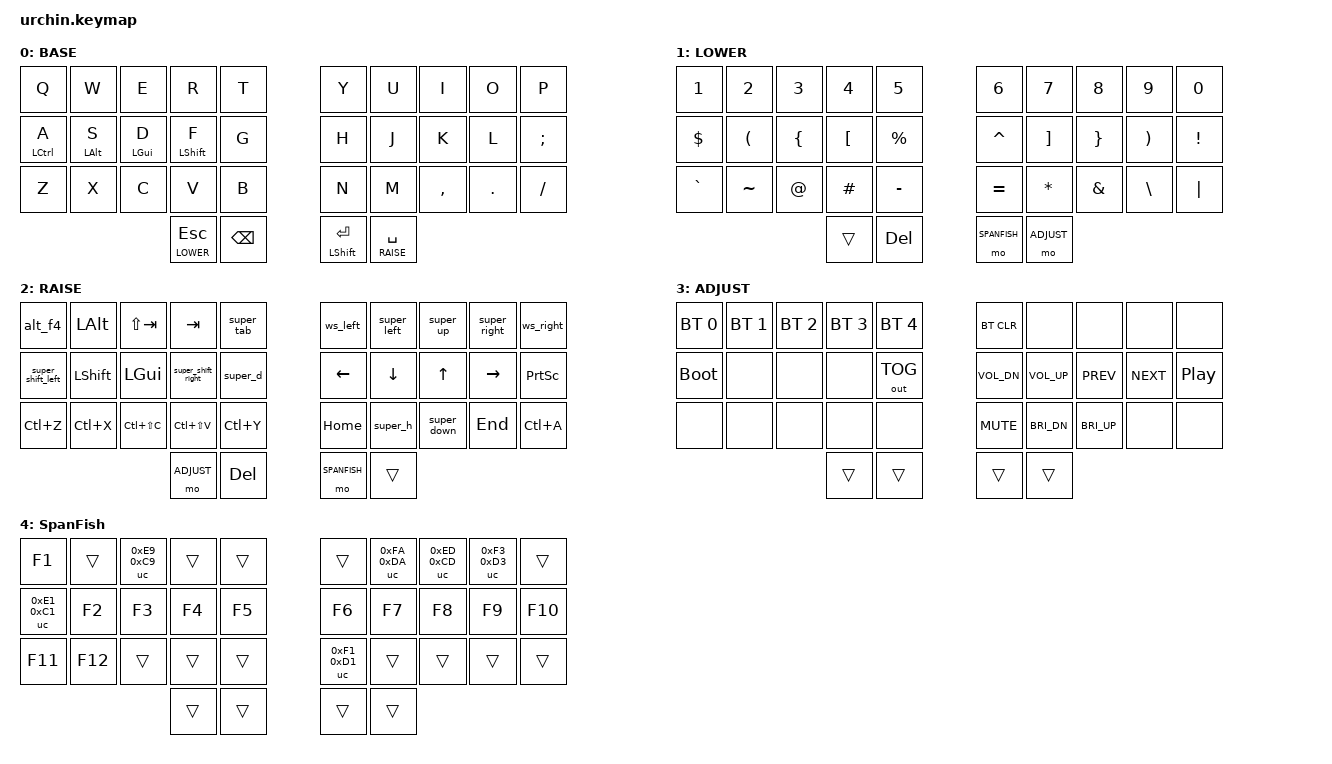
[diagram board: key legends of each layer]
/*
 * Copyright (c) 2024 The ZMK Contributors
 * SPDX-License-Identifier: MIT
 */

#include <behaviors.dtsi>
#include <dt-bindings/zmk/keys.h>
#include <dt-bindings/zmk/bt.h>
#include <dt-bindings/zmk/outputs.h>
#include <behaviors/unicode.dtsi>

// Definición de capas
#define BASE 0
#define LOWER 1
#define RAISE 2
#define ADJUST 3
#define SPANFISH 4

// Home row mods configuración
&mt {
    flavor = "balanced";
    tapping-term-ms = <200>;
    quick-tap-ms = <175>;
    require-prior-idle-ms = <150>;
};

&lt {
    flavor = "balanced";
    tapping-term-ms = <200>;
    quick-tap-ms = <175>;
};

// Configuración de Unicode para Linux (IBus)
&uc {
    default-mode = <UC_MODE_LINUX>;
};

/ {
    macros {
        // Alt+Tab - Cambiar a siguiente ventana (Ubuntu/GNOME)
        alt_tab: alt_tab {
            compatible = "zmk,behavior-macro";
            label = "ALT_TAB";
            #binding-cells = <0>;
            bindings = <&macro_press &kp LALT>
                     , <&macro_tap &kp TAB>
                     , <&macro_release &kp LALT>;
        };

        // Alt+Shift+Tab - Cambiar a ventana anterior (Ubuntu/GNOME)
        alt_shift_tab: alt_shift_tab {
            compatible = "zmk,behavior-macro";
            label = "ALT_SHIFT_TAB";
            #binding-cells = <0>;
            bindings = <&macro_press &kp LALT>
                     , <&macro_press &kp LSHFT>
                     , <&macro_tap &kp TAB>
                     , <&macro_release &kp LSHFT>
                     , <&macro_release &kp LALT>;
        };

        // Alt+F4 - Cerrar ventana actual (Ubuntu/GNOME)
        alt_f4: alt_f4 {
            compatible = "zmk,behavior-macro";
            label = "ALT_F4";
            #binding-cells = <0>;
            bindings = <&macro_press &kp LALT>
                     , <&macro_tap &kp F4>
                     , <&macro_release &kp LALT>;
        };

        // Super+D - Mostrar escritorio (Ubuntu/GNOME)
        super_d: super_d {
            compatible = "zmk,behavior-macro";
            label = "SUPER_D";
            #binding-cells = <0>;
            bindings = <&macro_press &kp LGUI>
                     , <&macro_tap &kp D>
                     , <&macro_release &kp LGUI>;
        };

        // Super+Tab - Cambiar entre aplicaciones (Ubuntu/GNOME)
        super_tab: super_tab {
            compatible = "zmk,behavior-macro";
            label = "SUPER_TAB";
            #binding-cells = <0>;
            bindings = <&macro_press &kp LGUI>
                     , <&macro_tap &kp TAB>
                     , <&macro_release &kp LGUI>;
        };

        // Super+Left - Tile window to left half
        super_left: super_left {
            compatible = "zmk,behavior-macro";
            label = "SUPER_LEFT";
            #binding-cells = <0>;
            bindings = <&macro_press &kp LGUI>
                     , <&macro_tap &kp LEFT>
                     , <&macro_release &kp LGUI>;
        };

        // Super+Right - Tile window to right half
        super_right: super_right {
            compatible = "zmk,behavior-macro";
            label = "SUPER_RIGHT";
            #binding-cells = <0>;
            bindings = <&macro_press &kp LGUI>
                     , <&macro_tap &kp RIGHT>
                     , <&macro_release &kp LGUI>;
        };

        // Super+Up - Maximize window
        super_up: super_up {
            compatible = "zmk,behavior-macro";
            label = "SUPER_UP";
            #binding-cells = <0>;
            bindings = <&macro_press &kp LGUI>
                     , <&macro_tap &kp UP>
                     , <&macro_release &kp LGUI>;
        };

        // Super+Down - Restore/unmaximize window
        super_down: super_down {
            compatible = "zmk,behavior-macro";
            label = "SUPER_DOWN";
            #binding-cells = <0>;
            bindings = <&macro_press &kp LGUI>
                     , <&macro_tap &kp DOWN>
                     , <&macro_release &kp LGUI>;
        };

        // Super+H - Minimize window
        super_h: super_h {
            compatible = "zmk,behavior-macro";
            label = "SUPER_H";
            #binding-cells = <0>;
            bindings = <&macro_press &kp LGUI>
                     , <&macro_tap &kp H>
                     , <&macro_release &kp LGUI>;
        };

        // Ctrl+Alt+Left - Switch to workspace on left
        ws_left: ws_left {
            compatible = "zmk,behavior-macro";
            label = "WS_LEFT";
            #binding-cells = <0>;
            bindings = <&macro_press &kp LCTRL>
                     , <&macro_press &kp LALT>
                     , <&macro_tap &kp LEFT>
                     , <&macro_release &kp LALT>
                     , <&macro_release &kp LCTRL>;
        };

        // Ctrl+Alt+Right - Switch to workspace on right
        ws_right: ws_right {
            compatible = "zmk,behavior-macro";
            label = "WS_RIGHT";
            #binding-cells = <0>;
            bindings = <&macro_press &kp LCTRL>
                     , <&macro_press &kp LALT>
                     , <&macro_tap &kp RIGHT>
                     , <&macro_release &kp LALT>
                     , <&macro_release &kp LCTRL>;
        };

        // Super+Shift+Left - Move window to left monitor
        super_shift_left: super_shift_left {
            compatible = "zmk,behavior-macro";
            label = "SUPER_SHIFT_LEFT";
            #binding-cells = <0>;
            bindings = <&macro_press &kp LGUI>
                     , <&macro_press &kp LSHFT>
                     , <&macro_tap &kp LEFT>
                     , <&macro_release &kp LSHFT>
                     , <&macro_release &kp LGUI>;
        };

        // Super+Shift+Right - Move window to right monitor
        super_shift_right: super_shift_right {
            compatible = "zmk,behavior-macro";
            label = "SUPER_SHIFT_RIGHT";
            #binding-cells = <0>;
            bindings = <&macro_press &kp LGUI>
                     , <&macro_press &kp LSHFT>
                     , <&macro_tap &kp RIGHT>
                     , <&macro_release &kp LSHFT>
                     , <&macro_release &kp LGUI>;
        };

    };

    behaviors {
        // Home row mods para mejor typing
        hml: homerow_mods_left {
            compatible = "zmk,behavior-hold-tap";
            label = "HOMEROW_MODS_LEFT";
            #binding-cells = <2>;
            flavor = "balanced";
            tapping-term-ms = <250>;
            quick-tap-ms = <175>;
            require-prior-idle-ms = <150>;
            bindings = <&kp>, <&kp>;
            hold-trigger-key-positions = <5 6 7 8 9 15 16 17 18 19 25 26 27 28 29 30 31 32 33>;
            hold-trigger-on-release;
        };

        hmr: homerow_mods_right {
            compatible = "zmk,behavior-hold-tap";
            label = "HOMEROW_MODS_RIGHT";
            #binding-cells = <2>;
            flavor = "balanced";
            tapping-term-ms = <250>;
            quick-tap-ms = <175>;
            require-prior-idle-ms = <150>;
            bindings = <&kp>, <&kp>;
            hold-trigger-key-positions = <0 1 2 3 4 10 11 12 13 14 20 21 22 23 24 30 31 32 33>;
            hold-trigger-on-release;
        };
    };

    combos {
        compatible = "zmk,combos";

        // ═══════════════════════════════════════════════════════════
        // UTILIDADES (acceso rápido)
        // ═══════════════════════════════════════════════════════════

        // ESC - Salir de modos (vim, etc)
        combo_esc {
            timeout-ms = <50>;
            key-positions = <16 17>;  // J+K
            bindings = <&kp ESC>;
            layers = <BASE>;
        };

        // TAB - Indentación y navegación
        combo_tab {
            timeout-ms = <50>;
            key-positions = <1 2>;  // W+E
            bindings = <&kp TAB>;
            layers = <BASE>;
        };

        // CAPS WORD - Mayúsculas temporales
        combo_capsword {
            timeout-ms = <50>;
            key-positions = <13 16>;  // F+J (ambos shifts)
            bindings = <&caps_word>;
            layers = <BASE>;
        };

        // ═══════════════════════════════════════════════════════════
        // COMILLAS (mano izquierda, posiciones análogas)
        // ═══════════════════════════════════════════════════════════

        // ' - Comilla simple (strings, atributos)
        combo_single_quote {
            timeout-ms = <50>;
            key-positions = <10 11>;  // A+S
            bindings = <&kp SQT>;
            layers = <BASE LOWER RAISE>;
        };

        // " - Comilla doble (strings)
        combo_double_quote {
            timeout-ms = <50>;
            key-positions = <20 21>;  // Z+X
            bindings = <&kp DQT>;
            layers = <BASE LOWER RAISE>;
        };

        // ═══════════════════════════════════════════════════════════
        // ÁNGULOS (mano derecha, posiciones análogas)
        // ═══════════════════════════════════════════════════════════

        // < - HTML tags, comparaciones
        combo_less_than {
            timeout-ms = <50>;
            key-positions = <17 18>;  // K+L
            bindings = <&kp LT>;
            layers = <BASE LOWER RAISE>;
        };

        // & - Referencias, AND lógico
        combo_ampersand {
            timeout-ms = <50>;
            key-positions = <26 27>;  // M+,
            bindings = <&kp AMPS>;
            layers = <BASE LOWER RAISE>;
        };

        // > - HTML tags, comparaciones
        combo_greater_than {
            timeout-ms = <50>;
            key-positions = <27 28>;  // ,+.
            bindings = <&kp GT>;
            layers = <BASE LOWER RAISE>;
        };

        // ═══════════════════════════════════════════════════════════
        // GUIONES (mano izquierda centro, posiciones análogas)
        // ═══════════════════════════════════════════════════════════

        // - (minus) - kebab-case, operador
        combo_minus {
            timeout-ms = <50>;
            key-positions = <11 12>;  // S+D
            bindings = <&kp MINUS>;
            layers = <BASE LOWER RAISE>;
        };

        // _ (underscore) - snake_case
        combo_underscore {
            timeout-ms = <50>;
            key-positions = <21 22>;  // X+C
            bindings = <&kp UNDER>;
            layers = <BASE LOWER RAISE>;
        };

        // ═══════════════════════════════════════════════════════════
        // EDICIÓN (atajos de teclado comunes)
        // ═══════════════════════════════════════════════════════════

        // ! - Exclamación, negación
        combo_exclaim_right {
            timeout-ms = <50>;
            key-positions = <18 19>;  // L+;
            bindings = <&kp EXCL>;
            layers = <BASE LOWER RAISE>;
        };

        // ═══════════════════════════════════════════════════════════
        // SÍMBOLOS DE PROGRAMACIÓN
        // ═══════════════════════════════════════════════════════════

        // = - Asignaciones, comparaciones
        combo_equal {
            timeout-ms = <50>;
            key-positions = <12 13>;  // D+F
            bindings = <&kp EQUAL>;
            layers = <BASE LOWER RAISE>;
        };

        // + - Operador matemático, concatenación
        combo_plus {
            timeout-ms = <50>;
            key-positions = <13 14>;  // F+G
            bindings = <&kp PLUS>;
            layers = <BASE LOWER RAISE>;
        };

        // : - JSON, CSS, objetos
        combo_colon {
            timeout-ms = <50>;
            key-positions = <2 3>;  // E+R
            bindings = <&kp COLON>;
            layers = <BASE LOWER RAISE>;
        };

        // ~ - Regex, paths, aproximaciones
        combo_tilde {
            timeout-ms = <50>;
            key-positions = <0 1>;  // Q+W
            bindings = <&kp TILDE>;
            layers = <BASE LOWER RAISE>;
        };

        // ` - Template literals (JS), markdown
        combo_backtick {
            timeout-ms = <50>;
            key-positions = <3 4>;  // R+T
            bindings = <&kp GRAVE>;
            layers = <BASE>;
        };

        // ═══════════════════════════════════════════════════════════
        // SÍMBOLOS ADICIONALES (mano derecha + C+V)
        // ═══════════════════════════════════════════════════════════

        // % - Porcentaje, módulo
        combo_percent {
            timeout-ms = <50>;
            key-positions = <5 6>;  // Y+U
            bindings = <&kp PRCNT>;
            layers = <BASE LOWER RAISE>;
        };

        // @ - Email, decoradores
        combo_at {
            timeout-ms = <50>;
            key-positions = <22 23>;  // C+V
            bindings = <&kp AT>;
            layers = <BASE LOWER RAISE>;
        };

        // \ - Backslash (fila inferior derecha)
        combo_backslash_bottom {
            timeout-ms = <50>;
            key-positions = <28 29>;  // .+/
            bindings = <&kp BSLH>;
            layers = <BASE LOWER RAISE>;
        };

        // # - Hash, comentarios, IDs
        combo_hash {
            timeout-ms = <50>;
            key-positions = <23 24>;  // V+B
            bindings = <&kp HASH>;
            layers = <BASE LOWER RAISE>;
        };

        // * - Multiplicación, spread operator, punteros
        combo_asterisk {
            timeout-ms = <50>;
            key-positions = <25 26>;  // N+M
            bindings = <&kp STAR>;
            layers = <BASE LOWER RAISE>;
        };

        // ? - Optional chaining, nullish coalescing, ternario
        combo_question {
            timeout-ms = <50>;
            key-positions = <6 7>;  // U+I
            bindings = <&kp QMARK>;
            layers = <BASE LOWER RAISE>;
        };

        // ^ - Caret, exponenciación, regex
        combo_caret {
            timeout-ms = <50>;
            key-positions = <7 8>;  // I+O
            bindings = <&kp CARET>;
            layers = <BASE LOWER RAISE>;
        };

        // ; - Fin de statement (más rápido que meñique)
        combo_semicolon {
            timeout-ms = <50>;
            key-positions = <15 16>;  // H+J
            bindings = <&kp SEMI>;
            layers = <BASE LOWER RAISE>;
        };


        // $ - Variables shell/PHP
        combo_dollar {
            timeout-ms = <50>;
            key-positions = <8 9>;  // O+P
            bindings = <&kp DLLR>;
            layers = <BASE LOWER RAISE>;
        };

    };

    keymap {
        compatible = "zmk,keymap";

        // ╔═══════════════════════════════════════════════════════════╗
        // ║                    CAPA BASE (QWERTY)                     ║
        // ╠═══════════════════════════════════════════════════════════╣
        // ║  Q     W     E     R     T      Y     U     I     O     P ║
        // ║  A     S     D     F     G      H     J     K     L     ; ║
        // ║ (CTRL)(ALT)(GUI)(SHFT)         (sin mods en mano derecha) ║
        // ║  Z     X     C     V     B      N     M     ,     .     / ║
        // ║            ESC   BSPC          RET   SPC                  ║
        // ║           (LOW)               (SHFT)(RAIS)                ║
        // ╚═══════════════════════════════════════════════════════════╝
        
        base_layer {
            label = "BASE";
            bindings = <
        // ╭─────────────┬─────────────┬─────────────┬─────────────┬─────────────╮   ╭─────────────┬─────────────┬─────────────┬─────────────┬─────────────╮
             &kp Q         &kp W         &kp E         &kp R         &kp T             &kp Y         &kp U         &kp I         &kp O         &kp P
        // ├─────────────┼─────────────┼─────────────┼─────────────┼─────────────┤   ├─────────────┼─────────────┼─────────────┼─────────────┼─────────────┤
             &hml LCTRL A  &hml LALT S   &hml LGUI D   &hml LSHFT F  &kp G             &kp H         &kp J         &kp K         &kp L         &kp SEMI
        // ├─────────────┼─────────────┼─────────────┼─────────────┼─────────────┤   ├─────────────┼─────────────┼─────────────┼─────────────┼─────────────┤
             &kp Z         &kp X         &kp C         &kp V         &kp B             &kp N         &kp M         &kp COMMA     &kp DOT       &kp FSLH
        // ╰─────────────┴─────────────┴─────────────┼─────────────┼─────────────┤   ├─────────────┼─────────────┼─────────────┴─────────────┴─────────────╯
                                         &lt LOWER ESC &kp BSPC                        &mt LSHFT RET &lt RAISE SPACE
        //                                             ╰─────────────┴─────────────╯   ╰─────────────┴─────────────╯
            >;
        };

        // ╔═══════════════════════════════════════════════════════════╗
        // ║         CAPA LOWER (Números y Símbolos de Código)         ║
        // ╠═══════════════════════════════════════════════════════════╣
        // ║  1     2     3     4     5      6     7     8     9     0  ║
        // ║  $     (     {     [     %      ^     ]     }     )     !  ║
        // ║  `     ~     @     #     -      =     *     &     \     |  ║
        // ║            ___   DEL        SPANFISH  ADJ                  ║
        // ║                                                             ║
        // ║ BRACKETS SIMÉTRICOS: Izq abre ( { [ | Der cierra ] } )     ║
        // ║ Brackets en anular/medio/índice (más ergonómico)           ║
        // ╚═══════════════════════════════════════════════════════════╝

        lower_layer {
            label = "LOWER";
            bindings = <
        // ╭─────────────┬─────────────┬─────────────┬─────────────┬─────────────╮   ╭─────────────┬─────────────┬─────────────┬─────────────┬─────────────╮
             &kp N1        &kp N2        &kp N3        &kp N4        &kp N5            &kp N6        &kp N7        &kp N8        &kp N9        &kp N0
        // ├─────────────┼─────────────┼─────────────┼─────────────┼─────────────┤   ├─────────────┼─────────────┼─────────────┼─────────────┼─────────────┤
             &kp DLLR      &kp LPAR      &kp LBRC      &kp LBKT      &kp PRCNT         &kp CARET     &kp RBKT      &kp RBRC      &kp RPAR      &kp EXCL
        // ├─────────────┼─────────────┼─────────────┼─────────────┼─────────────┤   ├─────────────┼─────────────┼─────────────┼─────────────┼─────────────┤
             &kp GRAVE     &kp TILDE     &kp AT        &kp HASH      &kp MINUS         &kp EQUAL     &kp STAR      &kp AMPS      &kp BSLH      &kp PIPE
        // ╰─────────────┴─────────────┴─────────────┼─────────────┼─────────────┤   ├─────────────┼─────────────┼─────────────┴─────────────┴─────────────╯
                                         &trans        &kp DEL                         &mo SPANFISH  &mo ADJUST
        //                                             ╰─────────────┴─────────────╯   ╰─────────────┴─────────────╯
            >;
        };

        // ╔═══════════════════════════════════════════════════════════╗
        // ║         CAPA RAISE (Window Management & Navigation)       ║
        // ╠═══════════════════════════════════════════════════════════╣
        // ║ALT_F4  ALT   SH_TAB  TAB  SUPER_TAB | WS_L TILE_L MAX TILE_R WS_R ║
        // ║ MON_L  SHFT   GUI   MON_R   DESK    | LEFT  DOWN   UP  RIGHT  PRSC ║
        // ║ UNDO   CUT    COPY+  PASTE+  REDO   | HOME  MIN    MAX  END   C-A  ║
        // ║                ADJ    DEL           | SPANFISH  ___                ║
        // ║                                                             ║
        // ║ Window Switcher (Hold W + tap R/E):                        ║
        // ║ - Hold W (Alt) + tap R (Tab): Siguiente ventana            ║
        // ║ - Hold W (Alt) + tap E (Shift+Tab): Ventana anterior       ║
        // ║ - Soltar W: Confirmar selección                            ║
        // ║ - Tile Left/Right/Maximize: Super+Left/Right/Up            ║
        // ║ - Minimize: Super+H / Close: Alt+F4 (Q)                    ║
        // ║ - Workspaces: Ctrl+Alt+Left/Right                          ║
        // ║ - Move to monitor: Super+Shift+Left (A) / Right (F)        ║
        // ║ Navigation: Vim-style arrows (H/J/K/L)                     ║
        // ║ Copy/Paste: Ctrl+Shift+C/V (terminal compatible)           ║
        // ║ F1-F12: Available in SpanFish layer (home row)             ║
        // ╚═══════════════════════════════════════════════════════════╝

        raise_layer {
            label = "RAISE";
            bindings = <
        // ╭─────────────┬─────────────┬─────────────┬─────────────┬─────────────╮   ╭─────────────┬─────────────┬─────────────┬─────────────┬─────────────╮
             &alt_f4       &kp LALT      &kp LS(TAB)   &kp TAB       &super_tab        &ws_left      &super_left   &super_up     &super_right  &ws_right
        // ├─────────────┼─────────────┼─────────────┼─────────────┼─────────────┤   ├─────────────┼─────────────┼─────────────┼─────────────┼─────────────┤
             &super_shift_left &kp LSHFT &kp LGUI      &super_shift_right &super_d     &kp LEFT      &kp DOWN      &kp UP        &kp RIGHT     &kp PSCRN
        // ├─────────────┼─────────────┼─────────────┼─────────────┼─────────────┤   ├─────────────┼─────────────┼─────────────┼─────────────┼─────────────┤
             &kp LC(Z)     &kp LC(X)     &kp LC(LS(C)) &kp LC(LS(V)) &kp LC(Y)         &kp HOME      &super_h      &super_down   &kp END       &kp LC(A)
        // ╰─────────────┴─────────────┴─────────────┼─────────────┼─────────────┤   ├─────────────┼─────────────┼─────────────┴─────────────┴─────────────╯
                                         &mo ADJUST    &kp DEL                         &mo SPANFISH  &trans
        //                                             ╰─────────────┴─────────────╯   ╰─────────────┴─────────────╯
            >;
        };

        // ╔═══════════════════════════════════════════════════════════╗
        // ║         CAPA ADJUST (Sistema y Media)                     ║
        // ╠═══════════════════════════════════════════════════════════╣
        // ║ BT0   BT1   BT2   BT3   BT4    BTCLR  ___   ___   ___  ___ ║
        // ║ BOOT  ___   ___   ___  OUT_T  VOL-  VOL+  PREV  NEXT PLAY  ║
        // ║  ___   ___   ___   ___   ___   MUTE  BRI-  BRI+   ___  ___  ║
        // ║            ___   ___           ___   ___                   ║
        // ╚═══════════════════════════════════════════════════════════╝

        adjust_layer {
            label = "ADJUST";
            bindings = <
        // ╭─────────────┬─────────────┬─────────────┬─────────────┬─────────────╮   ╭─────────────┬─────────────┬─────────────┬─────────────┬─────────────╮
             &bt BT_SEL 0  &bt BT_SEL 1  &bt BT_SEL 2  &bt BT_SEL 3  &bt BT_SEL 4      &bt BT_CLR    &none         &none         &none         &none
        // ├─────────────┼─────────────┼─────────────┼─────────────┼─────────────┤   ├─────────────┼─────────────┼─────────────┼─────────────┼─────────────┤
             &bootloader   &none         &none         &none         &out OUT_TOG      &kp C_VOL_DN  &kp C_VOL_UP  &kp C_PREV    &kp C_NEXT    &kp C_PP
        // ├─────────────┼─────────────┼─────────────┼─────────────┼─────────────┤   ├─────────────┼─────────────┼─────────────┼─────────────┼─────────────┤
             &none         &none         &none         &none         &none             &kp C_MUTE    &kp C_BRI_DN  &kp C_BRI_UP  &none         &none
        // ╰─────────────┴─────────────┴─────────────┼─────────────┼─────────────┤   ├─────────────┼─────────────┼─────────────┴─────────────┴─────────────╯
                                         &trans        &trans                          &trans        &trans
        //                                             ╰─────────────┴─────────────╯   ╰─────────────┴─────────────╯
            >;
        };

        // ╔═══════════════════════════════════════════════════════════╗
        // ║    CAPA SPANFISH (Spanish + F-keys en home row)           ║
        // ╠═══════════════════════════════════════════════════════════╣
        // ║  F1   ___    é    ___   ___    ___    ú     í     ó   ___  ║
        // ║  á    F2    F3    F4    F5     F6    F7    F8    F9   F10  ║
        // ║  F11  F12   ___   ___   ___     ñ    ___   ___   ___  ___  ║
        // ║             ___   ___         [HELD] ___                   ║
        // ║                                                            ║
        // ║ DISEÑO: Acentos españoles + F1-F12 en home row            ║
        // ║ UNICODE NATIVO - Funciona con layout US estándar          ║
        // ║ Con Shift: Á É Í Ó Ú Ñ (mayúsculas automáticas)           ║
        // ║ Requiere: IBus habilitado en Linux (Ctrl+Shift+U)         ║
        // ║                                                            ║
        // ║ ACCESO: Hold pulgar derecho desde LOWER/RAISE             ║
        // ║ HOME ROW: F2-F10 en home row (S-;), F1 en Q, F11-F12 en ZX║
        // ║ ACENTOS: á(A) é(E) ú(U) í(I) ó(O) ñ(N) en pos. naturales  ║
        // ╚═══════════════════════════════════════════════════════════╝

        spanfish_layer {
            label = "SpanFish";
            bindings = <
        // ╭───────────────┬───────────────┬───────────────┬───────────────┬───────────────╮   ╭───────────────┬───────────────┬───────────────┬───────────────┬───────────────╮
             &kp F1           &trans          &uc 0xE9 0xC9   &trans          &trans              &trans          &uc 0xFA 0xDA   &uc 0xED 0xCD   &uc 0xF3 0xD3   &trans
        // ├───────────────┼───────────────┼───────────────┼───────────────┼───────────────┤   ├───────────────┼───────────────┼───────────────┼───────────────┼───────────────┤
             &uc 0xE1 0xC1    &kp F2          &kp F3          &kp F4          &kp F5              &kp F6          &kp F7          &kp F8          &kp F9          &kp F10
        // ├───────────────┼───────────────┼───────────────┼───────────────┼───────────────┤   ├───────────────┼───────────────┼───────────────┼───────────────┼───────────────┤
             &kp F11          &kp F12         &trans          &trans          &trans              &uc 0xF1 0xD1   &trans          &trans          &trans          &trans
        // ╰───────────────┴───────────────┴───────────────┼───────────────┼───────────────┤   ├───────────────┼───────────────┼───────────────┴───────────────┴───────────────╯
                                             &trans          &trans                              &trans          &trans
        //                                                   ╰───────────────┴───────────────╯   ╰───────────────┴───────────────╯
            >;
        };
    };
};
